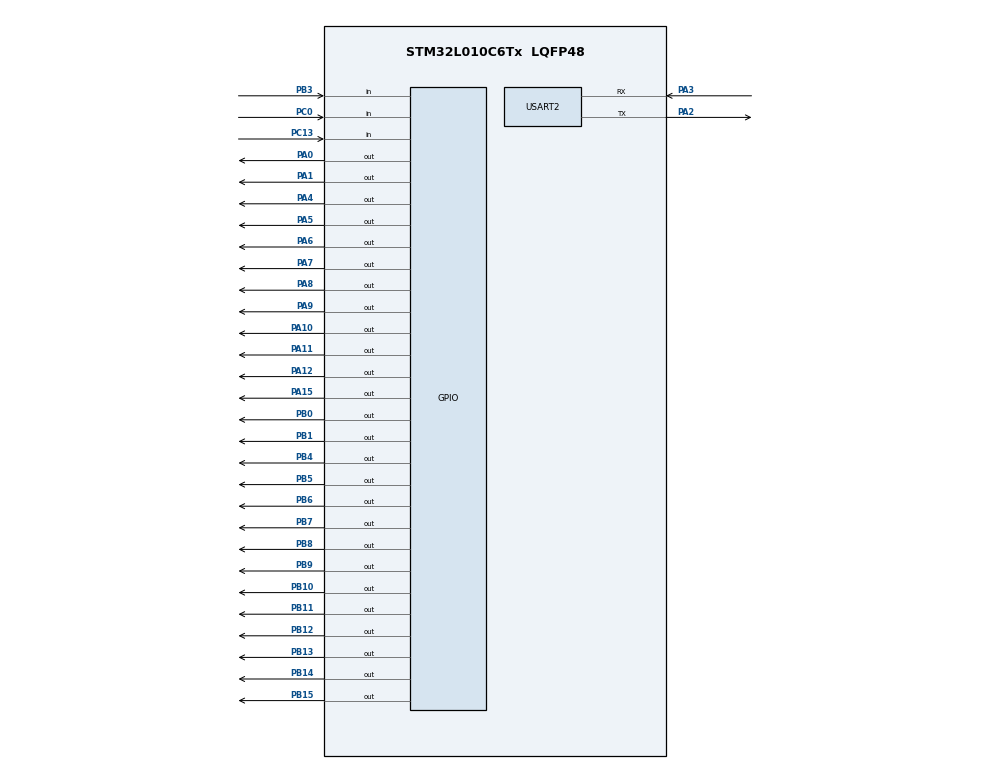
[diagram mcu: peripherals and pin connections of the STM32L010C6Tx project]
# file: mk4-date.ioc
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Mcu.Family=STM32L0
Mcu.Name=STM32L010C6Tx
Mcu.Package=LQFP48
NVIC.TIM21_IRQn=true\:0\:0\:false\:false\:false\:true\:false
NVIC.TIM2_IRQn=true\:0\:0\:false\:false\:false\:true\:false
PA0.GPIO_Speed=GPIO_SPEED_FREQ_VERY_HIGH
PA0.Signal=GPIO_Output
PA1.GPIO_Speed=GPIO_SPEED_FREQ_VERY_HIGH
PA1.Signal=GPIO_Output
PA10.GPIO_Speed=GPIO_SPEED_FREQ_VERY_HIGH
PA10.Signal=GPIO_Output
PA11.GPIO_Speed=GPIO_SPEED_FREQ_VERY_HIGH
PA11.Signal=GPIO_Output
PA12.GPIO_Speed=GPIO_SPEED_FREQ_VERY_HIGH
PA12.Signal=GPIO_Output
PA15.GPIO_Speed=GPIO_SPEED_FREQ_VERY_HIGH
PA15.Signal=GPIO_Output
PA2.Mode=Asynchronous
PA2.Signal=USART2_TX
PA3.Mode=Asynchronous
PA3.Signal=USART2_RX
PA4.GPIO_Speed=GPIO_SPEED_FREQ_VERY_HIGH
PA4.Signal=GPIO_Output
PA5.GPIO_Speed=GPIO_SPEED_FREQ_VERY_HIGH
PA5.Signal=GPIO_Output
PA6.GPIO_Speed=GPIO_SPEED_FREQ_VERY_HIGH
PA6.Signal=GPIO_Output
PA7.GPIO_Speed=GPIO_SPEED_FREQ_VERY_HIGH
PA7.Signal=GPIO_Output
PA8.GPIO_Speed=GPIO_SPEED_FREQ_VERY_HIGH
PA8.Signal=GPIO_Output
PA9.GPIO_Speed=GPIO_SPEED_FREQ_VERY_HIGH
PA9.Signal=GPIO_Output
PB0.GPIO_Speed=GPIO_SPEED_FREQ_VERY_HIGH
PB0.Signal=GPIO_Output
PB1.GPIO_Speed=GPIO_SPEED_FREQ_VERY_HIGH
PB1.Signal=GPIO_Output
PB10.GPIO_Speed=GPIO_SPEED_FREQ_VERY_HIGH
PB10.Signal=GPIO_Output
PB11.GPIO_Speed=GPIO_SPEED_FREQ_VERY_HIGH
PB11.Signal=GPIO_Output
PB12.GPIO_Speed=GPIO_SPEED_FREQ_VERY_HIGH
PB12.Signal=GPIO_Output
PB13.GPIO_Speed=GPIO_SPEED_FREQ_VERY_HIGH
PB13.Signal=GPIO_Output
PB14.GPIO_Speed=GPIO_SPEED_FREQ_VERY_HIGH
PB14.Signal=GPIO_Output
PB15.GPIO_Speed=GPIO_SPEED_FREQ_VERY_HIGH
PB15.Signal=GPIO_Output
PB3.GPIO_PuPd=GPIO_PULLUP
PB3.Signal=GPIO_Input
PB4.GPIO_Speed=GPIO_SPEED_FREQ_VERY_HIGH
PB4.Signal=GPIO_Output
PB5.GPIO_Speed=GPIO_SPEED_FREQ_VERY_HIGH
PB5.Signal=GPIO_Output
PB6.GPIO_Speed=GPIO_SPEED_FREQ_VERY_HIGH
PB6.Signal=GPIO_Output
PB7.GPIO_Speed=GPIO_SPEED_FREQ_VERY_HIGH
PB7.Signal=GPIO_Output
PB8.GPIO_Speed=GPIO_SPEED_FREQ_VERY_HIGH
PB8.Signal=GPIO_Output
PB9.GPIO_Speed=GPIO_SPEED_FREQ_VERY_HIGH
PB9.Signal=GPIO_Output
PC0.GPIO_PuPd=GPIO_PULLUP
PC0.Signal=GPIO_Input
PC13-ANTI_TAMP.GPIO_PuPd=GPIO_PULLUP
PC13-ANTI_TAMP.Signal=GPIO_Input
ProjectManager.HeapSize=0x200
ProjectManager.StackSize=0x400
ProjectManager.TargetToolchain=STM32CubeIDE
RCC.AHBFreq_Value=32000000
RCC.APB1Freq_Value=32000000
RCC.APB1TimFreq_Value=32000000
RCC.APB2Freq_Value=32000000
RCC.APB2TimFreq_Value=32000000
RCC.HCLKFreq_Value=32000000
RCC.HSE_VALUE=8000000
RCC.HSI16_VALUE=16000000
RCC.HSI_VALUE=16000000
RCC.LSE_VALUE=32768
RCC.MSI_VALUE=2097000
RCC.PLLMUL=RCC_PLLMUL_4
RCC.SYSCLKFreq_VALUE=32000000
RCC.SYSCLKSource=RCC_SYSCLKSOURCE_PLLCLK
RCC.VCOOutputFreq_Value=64000000
TIM2.AutoReloadPreload=TIM_AUTORELOAD_PRELOAD_ENABLE
TIM2.Period=319
TIM21.Period=19999
TIM21.Prescaler=31
USART2.Parity=PARITY_EVEN
USART2.VirtualMode=VM_ASYNC
USART2.WordLength=WORDLENGTH_9B
VP_TIM21_VS_ClockSourceINT.Mode=Internal
VP_TIM2_VS_ClockSourceINT.Mode=Internal
board=custom

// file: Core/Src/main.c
/* USER CODE BEGIN Header */
/**
  ******************************************************************************
  * @file           : main.c
  * @brief          : Main program body
  ******************************************************************************
  * @attention
  *
  * <h2><center>&copy; Copyright (c) 2020 STMicroelectronics.
  * All rights reserved.</center></h2>
  *
  * This software component is licensed by ST under BSD 3-Clause license,
  * the "License"; You may not use this file except in compliance with the
  * License. You may obtain a copy of the License at:
  *                        opensource.org/licenses/BSD-3-Clause
  *
  ******************************************************************************
  */
/* USER CODE END Header */

#include "main.h"

/* USER CODE BEGIN Includes */
#include <string.h>
#include <math.h>
#include <stdio.h>
/* USER CODE END Includes */

/* USER CODE BEGIN PM */

#define byteswap32(x) \
   ( ((x & 0xff000000) >> 24) | ((x & 0x00ff0000) >> 8) \
   | ((x & 0x0000ff00) <<  8) | ((x & 0x000000ff) << 24))

/* USER CODE END PM */

/* USER CODE BEGIN PV */

const uint8_t lut_7seg[] = {
  0,
  64, // !
  0b00100010,// "
  64, // #
  64, // $
  64, // %
  64, // &
  0b00000010,// '
  0b00111001,// (
  0b00001111,// )
  64, // *
  64, // +
  64, // ,
  0b01000000,// -
  64, // .
  0b01010010,// /
  0b00111111,// 0
  0b00000110,// 1
  0b01011011,// 2
  0b01001111,// 3
  0b01100110,// 4
  0b01101101,// 5
  0b01111101,// 6
  0b00000111,// 7
  0b01111111,// 8
  0b01101111,// 9
  64, // :
  64, // ;
  64, // <
  64, // =
  64, // >
  64, // ?
  64, // @
  0b01110111,// A
  0b01111100,// B
  0b00111001,// C
  0b01011110,// D
  0b01111001,// E
  0b01110001,// F
  0b00111101,// G
  0b01110100,// H
  0b00000110,// I
  0b00011110,// J
  0b01110101,// K
  0b00111000,// L
  0b00010101,// M
  0b01010100,// N
  0b00111111,// O
  0b01110011,// P
  0b01100111,// Q
  0b01010000,// R
  0b01101101,// S
  0b01111000,// T
  0b00111110,// U
  0b01100010,// V
  0b00101010,// W
  0b01110110,// X
  0b01101110,// Y
  0b01011011,// Z
  0b00111001,// [
  0b01100100,// \ //
  0b00001111,// ]
  0b00100011,// ^
  0b00001000,// _
  0b00100000,// `
  0b01110111,// a
  0b01111100,// b
  0b01011000,// c
  0b01011110,// d
  0b01111001,// e
  0b01110001,// f
  0b00111101,// g
  0b01110100,// h
  0b00000100,// i
  0b00011110,// j
  0b01110101,// k
  0b00111000,// l
  0b01010101,// m
  0b01010100,// n
  0b01011100,// o
  0b01110011,// p
  0b01100111,// q
  0b01010000,// r
  0b01101101,// s
  0b01111000,// t
  0b00011100,// u
  0b01100010,// v
  0b01101010,// w
  0b01110110,// x
  0b01101110,// y
  0b01011011,// z
  0b00111001,// {
  64, // |
  0b00001111,// }
  64, // ~
};

const uint8_t lut_7seg_inv[] = {
  0,
  64, // !
  0b00010100,// "
  64, // #
  64, // $
  64, // %
  64, // &
  0b00010000,// '
  0b00001111,// (
  0b00111001,// )
  64, // *
  64, // +
  64, // ,
  0b01000000,// -
  64, // .
  0b01010010,// /
  0b00111111,// 0
  0b00110000,// 1
  0b01011011,// 2
  0b01111001,// 3
  0b01110100,// 4
  0b01101101,// 5
  0b01101111,// 6
  0b00111000,// 7
  0b01111111,// 8
  0b01111101,// 9
  64, // :
  64, // ;
  64, // <
  64, // =
  64, // >
  64, // ?
  64, // @
  0b01111110,// A
  0b01100111,// B
  0b00001111,// C
  0b01110011,// D
  0b01001111,// E
  0b01001110,// F
  0b00101111,// G
  0b01100110,// H
  0b00110000,// I
  0b00110011,// J
  0b01101110,// K
  0b00000111,// L
  0b00101010,// M
  0b01100010,// N
  0b00111111,// O
  0b01011110,// P
  0b01111100,// Q
  0b01000010,// R
  0b01101101,// S
  0b01000111,// T
  0b00110111,// U
  0b01010100,// V
  0b00010101,// W
  0b01110110,// X
  0b01110101,// Y
  0b01011011,// Z
  0b00001111,// [
  0b01100100,// \ //
  0b00111001,// ]
  0b00011100,// ^
  0b00000001,// _
  0b00000100,// `
  0b01111110,// a
  0b01100111,// b
  0b01000011,// c
  0b01110011,// d
  0b01001111,// e
  0b01001110,// f
  0b00101111,// g
  0b01100110,// h
  0b00100000,// i
  0b00110011,// j
  0b01101110,// k
  0b00000111,// l
  0b01101010,// m
  0b01100010,// n
  0b01100011,// o
  0b01011110,// p
  0b01111100,// q
  0b01000010,// r
  0b01101101,// s
  0b01000111,// t
  0b00100011,// u
  0b01010100,// v
  0b01010101,// w
  0b01110110,// x
  0b01110101,// y
  0b01011011,// z
  0b00001111,// {
  64, // |
  0b00111001,// }
  64, // ~
};

#define CMD_LOAD_TEXT          0x90
#define CMD_SET_FREQUENCY      0x91
#define CMD_RELOAD_TEXT        0x92
#define CMD_SET_SCROLL_SPEED   0x93
#define CMD_SET_SEG_BALANCE    0x94   // + 9 data bytes: duty (of 16) for 0..8 lit segments

#define CMD_SHOW_CRC           0x9D
#define CMD_REPORT_CRC         0x9E
#define CMD_START_BOOTLOADER   0x9F

#define CMD_SET_FREQUENCY_B2   0xA1
#define CMD_SET_FREQUENCY_B3   0xA2

// 32e6/5/50 = 128000 Hz
// on -O0, ARR_MIN 66 => 95522.388Hz
#define ARR_MIN                49
#define ARR_MAX                6399
// 32e6/5/6400 = 1000Hz

uint16_t pre_buffer_a[5] ={0};
uint16_t pre_buffer_b[5] ={0};
uint8_t status = 0;

uint16_t buffer_a[5] ={0};
uint16_t buffer_b[5] ={0};
uint8_t buffer_idx=0;

#define MAX_TEXT_LEN 32
uint8_t text[MAX_TEXT_LEN] ={0};
uint8_t text_idx=0;
uint8_t dp_pos=0;

uint32_t target_freq=0;

const uint16_t cathodes_a[5]={
    0b1001100000000010,
    0b1001100000000001,
    0b1001000000000011,
    0b1000100000000011,
    0b0001100000000011
};
const uint16_t cathodes_b[5]={
    0b1111000000000000,
    0b1110100000000000,
    0b1101100000000000,
    0b1011100000000000,
    0b0111100000000000
};

// --- Per-segment brightness balance (received from the time board) ---------------------------
// The shared LED rail makes digits with FEWER lit segments glow brighter (per-digit return-path
// drop). The time board computes the compensation and forwards a 9-entry duty table over the
// UART (CMD_SET_SEG_BALANCE + 9 data bytes: lit cycles of 16 for a digit with 0..8 lit segments);
// this board just applies it: the scan ISR runs a D-cycle dither where each digit is lit in its
// table share of cycles. D adapts to the commanded scan rate so the dither never strobes
// (>= ~200 Hz), and the identity table (all 16, the default) is bit-identical to stock.
// Segment bits per port (cathode selects and all else pass through unmasked, verbatim):
//   port A: segments bits 4..10 + DP bit 14 (cathodes_a use bits 15,12,11,1,0)
//   port B: segments bits 4..10 + DP bit 0  (cathodes_b use bits 15..11)
#define SEGBAL_MASK_A  0x47F0u
#define SEGBAL_MASK_B  0x07F1u
uint8_t segbal_table[9] = {16,16,16,16,16,16,16,16,16};
uint8_t segbal_stage[9];                 // RX staging — committed atomically on the 9th byte
uint8_t segbal_stage_idx = 0;
uint8_t segbal_duty_a[5] = {16,16,16,16,16};   // lit cycles (of 16) per column, per port
uint8_t segbal_duty_b[5] = {16,16,16,16,16};
uint8_t segbal_cycle = 0;                // advances once per 5-column sweep, wraps at the depth

// rank(c) for D=16 (bit-reversed c); for D=8/4 shift right by 1/2. A digit is lit on the cycles
// whose rank falls in ITS OWN window of size s: (rank + phase) mod D < s, phase fixed per digit
// (port x column). Two properties, both hardware-proven the hard way:
//  - NESTED: when a duty steps (segment count changed, duty table re-forwarded) the lit set
//    gains/loses exactly one cycle instead of reshuffling — a reshuffling spread (e.g.
//    (c*s) % D < s, the first ship) visibly re-phases the light at each step.
//  - DECORRELATED: distinct phases keep the digits' lit cycles spread across the period. With
//    one shared window (no rotation — the second ship) every digit lit the same low-rank cycles:
//    high-rank cycles went ALL-dark (whole-row 200 Hz comb), the shared rail saw a sawtooth that
//    stepped with the time board's content, and the row blipped at 1 Hz with per-digit brightness
//    off calibration.
// A rotated rank window bit-reverses to a van-der-Corput run, so spacing stays near-even at
// every s. Identity (duty 16 = s = D) lights every cycle regardless of phase = stock-identical.
static const uint8_t SEGBAL_REV16[16] = {0,8,4,12,2,10,6,14,1,9,5,13,3,11,7,15};
static const uint8_t SEGBAL_PH_A[5] = {0, 6, 12, 2, 8};    // idx*3 mod 16, idx = col*2 + port —
static const uint8_t SEGBAL_PH_B[5] = {3, 9, 15, 5, 11};   // all 10 digit phases distinct

static uint8_t segbal_pop(uint16_t v){
  uint8_t n = 0;
  while (v) { n += v & 1u; v >>= 1; }
  return n;
}
// Recompute the per-column duties from the CURRENT buffer words. Called wherever the buffers
// change (latch, direct writes, wipe) — cheap, and the ISR itself never does the counting.
static void segbalRecompute(void){
  for (uint8_t i = 0; i < 5; i++) {
    uint8_t na = segbal_pop(buffer_a[i] & SEGBAL_MASK_A);
    uint8_t nb = segbal_pop(buffer_b[i] & SEGBAL_MASK_B);
    segbal_duty_a[i] = segbal_table[na > 8 ? 8 : na];
    segbal_duty_b[i] = segbal_table[nb > 8 ? 8 : nb];
  }
}
// Dither depth for the commanded scan rate (TIM2 clock 6.4 MHz; setFrequency retunes ARR from
// 1..100 kHz): deepest of {16,8,4} keeping the dither >= ~200 Hz, else 1 = balancing off.
static uint8_t segbal_depth(void){
  uint32_t step = 6400000u / ((uint32_t)TIM2->ARR + 1u);
  if (step >= 16000u) return 16u;
  if (step >=  8000u) return 8u;
  if (step >=  4000u) return 4u;
  return 1u;
}

uint8_t inverted=0;
uint8_t b1_held =0;
uint8_t b2_held =0;
uint8_t b1_chorded=0;    // this B1 press overlapped B2 at some point -> it's a chord, never emit a single for it
uint8_t b2_chorded=0;
uint16_t both_held =0;   // monotonic ticks both buttons have been down (chord timer)
uint8_t  both_stage=0;   // 0 = no chord, else the last stage (1/2/3) emitted this hold

/* USER CODE END PV */

void SystemClock_Config(void);
static void MX_GPIO_Init(void);
static void MX_TIM2_Init(void);
static void MX_USART2_UART_Init(void);
static void MX_TIM21_Init(void);

/* USER CODE BEGIN 0 */

__attribute__((naked,noreturn))
void triggerBootloader(void){

  LL_TIM_DisableIT_UPDATE(TIM2);
  LL_TIM_DisableCounter(TIM2);
  LL_TIM_DeInit(TIM2);

  LL_TIM_DisableIT_UPDATE(TIM21);
  LL_TIM_DisableCounter(TIM21);
  LL_TIM_DeInit(TIM21);

  LL_USART_Disable(USART2);
  LL_USART_DeInit(USART2);

  GPIOA->ODR=0;
  GPIOB->ODR=0;

  LL_GPIO_DeInit(GPIOA);
  LL_GPIO_DeInit(GPIOB);

  LL_APB2_GRP1_ForceReset(LL_APB2_GRP1_PERIPH_SYSCFG);
  LL_APB1_GRP1_ForceReset(LL_APB1_GRP1_PERIPH_ALL);
  LL_APB2_GRP1_ReleaseReset(LL_APB2_GRP1_PERIPH_SYSCFG);
  LL_APB1_GRP1_ReleaseReset(LL_APB1_GRP1_PERIPH_ALL);

  LL_RCC_DeInit();
  SysTick->CTRL = 0;
  SysTick->LOAD = 0;
  SysTick->VAL = 0;

#define SYSMEM 0x1FF00000

  __set_MSP(*(volatile uint32_t*) SYSMEM);
  ((void (*)(void)) (*((volatile uint32_t *)(SYSMEM + 4))))();

  __builtin_unreachable();
}

void setDigitPre(uint8_t digit, uint8_t val){
  if (val<32 || val>127) val=32;

  if (inverted == 1) {
    if (digit>=5) {
      pre_buffer_b[9-digit] = (lut_7seg_inv[val-32]<<4) | cathodes_b[9-digit];
    } else {
      pre_buffer_a[9-digit-5] = (lut_7seg_inv[val-32]<<4) | cathodes_a[9-digit-5];
    }
  } else {
    if (digit>=5) {
      pre_buffer_a[digit-5] = (lut_7seg[val-32]<<4) | cathodes_a[digit-5];
    } else {
      pre_buffer_b[digit] = (lut_7seg[val-32]<<4) | cathodes_b[digit];
    }
  }
}
void setDigitDirect(uint8_t digit, uint8_t val){
  if (val<32 || val>127) val=32;
  // (duties refreshed at the end — this writes the live buffers directly)

  if (inverted == 1) {
    if (digit>=5) {
      buffer_b[9-digit] = (lut_7seg_inv[val-32]<<4) | cathodes_b[9-digit];
    } else {
      buffer_a[9-digit-5] = (lut_7seg_inv[val-32]<<4) | cathodes_a[9-digit-5];
    }
  } else {
    if (digit>=5) {
      buffer_a[digit-5] = (lut_7seg[val-32]<<4) | cathodes_a[digit-5];
    } else {
      buffer_b[digit] = (lut_7seg[val-32]<<4) | cathodes_b[digit];
    }
  }
  segbalRecompute();
}

// Main display matrix routine. seg-balance: each digit is lit in duty/16 of the dither cycles —
// rescaled to the depth D for this scan rate — with its cathode-select bits present in EVERY
// cycle. The identity table gives duty 16 = always lit = bit-identical to the stock scan.
void TIM2_IRQHandler(void)
{
  if (TIM2->SR & TIM_SR_UIF){

    uint16_t wa = buffer_a[buffer_idx];
    uint16_t wb = buffer_b[buffer_idx];
    uint8_t  D  = segbal_depth();
    // duty on the 0..16 scale -> lit cycles of D (D=16 exact; lit digits keep >= 1 cycle)
    uint8_t sa = (uint8_t)(((uint16_t)segbal_duty_a[buffer_idx] * D + 8u) >> 4);
    uint8_t sb = (uint8_t)(((uint16_t)segbal_duty_b[buffer_idx] * D + 8u) >> 4);
    if (segbal_duty_a[buffer_idx] && !sa) sa = 1;
    if (segbal_duty_b[buffer_idx] && !sb) sb = 1;
    uint8_t r = (uint8_t)(SEGBAL_REV16[segbal_cycle % D] >> ((D == 16u) ? 0 : (D == 8u) ? 1 : 2));
    if (((uint8_t)(r + SEGBAL_PH_A[buffer_idx]) & (D - 1u)) >= sa) wa &= (uint16_t)~SEGBAL_MASK_A;
    if (((uint8_t)(r + SEGBAL_PH_B[buffer_idx]) & (D - 1u)) >= sb) wb &= (uint16_t)~SEGBAL_MASK_B;

    GPIOA->ODR = wa;
    GPIOB->ODR = wb;

    buffer_idx ++;
    if (buffer_idx>=5) { buffer_idx=0; segbal_cycle = (uint8_t)((segbal_cycle + 1) & 15); }

    TIM2->SR = ~TIM_DIER_UIE;
    return;
  }
}

void TIM21_IRQHandler(void){
  if (TIM21->SR & TIM_SR_UIF){

    uint8_t i = (LL_GPIO_ReadInputPort(GPIOC) & 1)?1:0;

    //if (i!=inverted)...

    inverted=i;

    TIM21->SR = ~TIM_DIER_UIE;

   //if (!latched) return; //don't intervene while waiting for latch
    //if (inverted)...

    // A lone button must be held chord_grace ticks (~120ms at 50Hz) before it COMMITS a single press —
    // long enough that a slightly-staggered second button turns the pair into a chord instead. A quick
    // lone TAP (released before chord_grace) still fires on RELEASE below, so this window never drops a
    // tap; it only widens how forgiving "press both together" is. Once the other button has overlapped
    // (b*_chorded), the single is suppressed entirely, and a both-tapped-too-brief press emits nothing.
#define chord_grace 6        // ticks both-simultaneity is tolerated within (was an unforgiving 2)
#define btn_delay 42
#define btn_repeat 10

    if ((LL_GPIO_ReadInputPort(GPIOB) & LL_GPIO_PIN_3)==0) {
      b1_held++;
      if (b2_held) b1_chorded = 1;                                   // B2 overlapped -> chord, not a single
      if ((b1_held == chord_grace || b1_held == btn_delay) && !b1_chorded) {
        if (USART2->ISR & USART_ISR_TXE) USART2->TDR = 0x91 + inverted;
        if (b1_held == btn_delay) b1_held -= btn_repeat;             // auto-repeat while held
      }
    } else {
      if (b1_held && b1_held < chord_grace && !b1_chorded &&         // released before the grace, alone:
          (USART2->ISR & USART_ISR_TXE)) USART2->TDR = 0x91 + inverted;   // a quick tap -> fire it on release
      b1_held = 0; b1_chorded = 0;
    }
    if ((LL_GPIO_ReadInputPort(GPIOC) & LL_GPIO_PIN_13)==0) {
      b2_held++;
      if (b1_held) b2_chorded = 1;
      if ((b2_held == chord_grace || b2_held == btn_delay) && !b2_chorded) {
        if (USART2->ISR & USART_ISR_TXE) USART2->TDR = 0x92 - inverted;
        if (b2_held == btn_delay) b2_held -= btn_repeat;
      }
    } else {
      if (b2_held && b2_held < chord_grace && !b2_chorded &&
          (USART2->ISR & USART_ISR_TXE)) USART2->TDR = 0x92 - inverted;
      b2_held = 0; b2_chorded = 0;
    }

    // Both buttons held: a rolling self-labeled chord for the time board's on-device menu. Cross a
    // stage every chord_step ticks after chord_s1, cycling 1/2/3, emitting 0x94/0x95/0x96 (the stage
    // crossings the time board renders as SETUP/RESET/... on the date row). On release after reaching
    // at least stage 1, emit 0x93 to fire the shown stage. A press too brief to reach stage 1 emits
    // NOTHING — so the time board never sees a bare 0x93 here (it treats that as a legacy reset for
    // pre-menu date boards), and reset now lives at the deepest labeled stage instead of any both-hold.
#define chord_s1   42        // ticks of both-held before stage 1 lights up (~matches the single-hold feel)
#define chord_step 35        // ticks per subsequent stage; long enough to read the label and release
    if ( ((LL_GPIO_ReadInputPort(GPIOB) & LL_GPIO_PIN_3)==0) &&
         ((LL_GPIO_ReadInputPort(GPIOC) & LL_GPIO_PIN_13)==0) ) {
      if (both_held < 0xFFFF) both_held++;
      if (both_held >= chord_s1) {
        uint8_t stage = 1 + (uint8_t)(((both_held - chord_s1) / chord_step) % 3);   // 1,2,3,1,2,3,...
        if (stage != both_stage) {
          both_stage = stage;
          if (USART2->ISR & USART_ISR_TXE) USART2->TDR = (uint8_t)(0x93 + stage);   // 0x94/0x95/0x96
        }
      }
    } else {
      if (both_stage) {                                       // released after a chord: fire the stage
        if (USART2->ISR & USART_ISR_TXE) USART2->TDR = 0x93;
        both_stage = 0;
      }
      both_held = 0;
    }
  }
}

static inline void setFrequency(void){

  if (target_freq<1 || target_freq>100000) return;

  uint32_t arr = round(6400000.0 / (float)target_freq) -1.0;
  if (arr > ARR_MAX) arr = ARR_MAX;
  if (arr < ARR_MIN) arr = ARR_MIN;
  TIM2->ARR= arr;
}

static inline void latchDisplay(void){
  buffer_b[0] = pre_buffer_b[0];
  buffer_b[1] = pre_buffer_b[1];
  buffer_b[2] = pre_buffer_b[2];
  buffer_b[3] = pre_buffer_b[3];
  buffer_b[4] = pre_buffer_b[4];
  buffer_a[0] = pre_buffer_a[0];
  buffer_a[1] = pre_buffer_a[1];
  buffer_a[2] = pre_buffer_a[2];
  buffer_a[3] = pre_buffer_a[3];
  buffer_a[4] = pre_buffer_a[4];

  // dp_pos is the 1-based digit the decimal point attaches to (0 = none). It comes from
  // text_idx, which the sender can advance past the 10-digit display, and it indexes the
  // 5-entry buffer_a/buffer_b below. Clamp to each orientation's valid range so a stray or
  // garbled '.' in the UART stream can't drive a negative / out-of-range index into RAM.
  if (!dp_pos) return;
  if (inverted) { if (dp_pos > 9) return; }   // inverted: 9-dp_pos goes negative at 10
  else          { if (dp_pos > 10) return; }  // non-inverted: dp_pos-6 tops out at [4]

  if (inverted){
    if (dp_pos>=5) {
      buffer_b[9-dp_pos] |=1 | cathodes_b[9-dp_pos];
    } else {
      buffer_a[9-dp_pos-5]  |=(1<<14) | cathodes_a[9-dp_pos-5];
    }
  } else {
    if (dp_pos>5) {
      buffer_a[dp_pos-6] |=1<<14;
    } else {
      buffer_b[dp_pos-1] |=1;
    }
  }
}
// NOTE: every path that changes buffer_a/buffer_b refreshes the balance duties — the DP OR above
// included, which is why the recompute lives in the callers right after latchDisplay()/writes.
static inline uint8_t waitForByte(void){
  while( !( USART2->ISR & USART_ISR_RXNE ) ) {};
  return USART2->RDR;
}

void transmitBlocking(uint8_t * c, size_t n){
  while (n--){
    while( !( USART2->ISR & USART_ISR_TXE ) ) {};
    USART2->TDR = *c++;
  }
}

static inline void waitForLatch(void){
  LL_USART_DisableDirectionRx(USART2);
  LL_GPIO_SetPinMode( GPIOA, LL_GPIO_PIN_3, LL_GPIO_MODE_INPUT );

  while (GPIOA->IDR & LL_GPIO_PIN_3) {}

  latchDisplay();
  segbalRecompute();

  // The latch byte is 0xFE with even parity, so as soon as the line returns high we can re-enable uart
  while (!(GPIOA->IDR & LL_GPIO_PIN_3)) {}

  LL_GPIO_SetPinMode( GPIOA, LL_GPIO_PIN_3, LL_GPIO_MODE_ALTERNATE );
  LL_USART_EnableDirectionRx(USART2);
}

static inline void parseByte(uint8_t x){

  if (x & 0x80) { // command byte
    status = x;
    switch (x) {
      case CMD_SHOW_CRC:
      case CMD_LOAD_TEXT:
        text_idx=0;
        dp_pos=0;
        memset(text, 0, MAX_TEXT_LEN);

        pre_buffer_b[0]=0;
        pre_buffer_b[1]=0;
        pre_buffer_b[2]=0;
        pre_buffer_b[3]=0;
        pre_buffer_b[4]=0;
        pre_buffer_a[0]=0;
        pre_buffer_a[1]=0;
        pre_buffer_a[2]=0;
        pre_buffer_a[3]=0;
        pre_buffer_a[4]=0;

        break;
      case CMD_RELOAD_TEXT:
        latchDisplay();
  segbalRecompute();
        break;
      case CMD_SET_SEG_BALANCE:
        segbal_stage_idx = 0;
        break;
      case CMD_SET_SCROLL_SPEED:
        break;

      case CMD_SET_FREQUENCY:
      case CMD_SET_FREQUENCY_B2:
      case CMD_SET_FREQUENCY_B3:
        target_freq=0;
        break;

      case CMD_REPORT_CRC:
        transmitBlocking( (uint8_t*)0x8007ffc, 4);
        break;

      case CMD_START_BOOTLOADER:
        triggerBootloader();
        break;

      default:
        status=0;
    }

    if (x==CMD_SHOW_CRC) {
      uint32_t* crc = (uint32_t*)0x8007ffc;
      sprintf(text, "d %08lx", byteswap32(crc[0]));
      for (text_idx=0; text_idx<10; text_idx++)
        setDigitPre(text_idx, text[text_idx]);
    }

    return;
  }

  // Process data
  switch(status){

  case CMD_SHOW_CRC:
  case CMD_LOAD_TEXT:
    if (x=='\n' || x==0) {
      waitForLatch();
      return;
    }
    if (x=='.') {
      dp_pos = text_idx;
      return;
    }
    if(text_idx >= MAX_TEXT_LEN) return;  // was '>': at text_idx==MAX_TEXT_LEN this wrote text[32], 1 byte past the buffer

    if (text_idx < 10) setDigitPre(text_idx, x);
    text[text_idx++] = x;
    return;

  case CMD_SET_SCROLL_SPEED:
    return;

  case CMD_SET_SEG_BALANCE:
    // 9 duty bytes (0..16, for 0..8 lit segments), committed atomically on the last one — an
    // interrupted frame (any command byte resets `status`) leaves the previous table intact.
    if (segbal_stage_idx < 9) segbal_stage[segbal_stage_idx++] = (x > 16) ? 16 : x;
    if (segbal_stage_idx == 9) {
      for (uint8_t i = 0; i < 9; i++) segbal_table[i] = segbal_stage[i];
      segbalRecompute();
      status = 0;
    }
    return;

  case CMD_SET_FREQUENCY:
    status=CMD_SET_FREQUENCY_B2;
    target_freq |= x<<14;
    return;
  case CMD_SET_FREQUENCY_B2:
    status=CMD_SET_FREQUENCY_B3;
    target_freq |= x<<7;
    return;
  case CMD_SET_FREQUENCY_B3:
    status=0;
    target_freq |= x;
    setFrequency();
    return;
  }

}

/* USER CODE END 0 */

int main(void)
{

  /* MCU Configuration--------------------------------------------------------*/

  /* Reset of all peripherals, Initializes the Flash interface and the Systick. */

  LL_APB2_GRP1_EnableClock(LL_APB2_GRP1_PERIPH_SYSCFG);
  LL_APB1_GRP1_EnableClock(LL_APB1_GRP1_PERIPH_PWR);

  /* System interrupt init*/

  /* Configure the system clock */
  SystemClock_Config();

  /* Initialize all configured peripherals */
  MX_GPIO_Init();
  MX_TIM2_Init();
  MX_USART2_UART_Init();
  MX_TIM21_Init();
  /* USER CODE BEGIN 2 */

  //  (HAL_TIM_Base_Start_IT(&htim2)

  LL_TIM_EnableIT_UPDATE(TIM2); //TIM2->DIER |= TIM_DIER_UIE;
  LL_TIM_EnableCounter(TIM2); //TIM2->CR1 |= TIM_CR1_CEN;

  LL_TIM_EnableIT_UPDATE(TIM21);
  LL_TIM_EnableCounter(TIM21);

//  setDigitDirect(0, 'l');
//  setDigitDirect(1, 'o');
//  setDigitDirect(2, 'l');
//  setDigitDirect(3, 'o');
//  setDigitDirect(4, 'l');
//  setDigitDirect(5, 'o');
//  setDigitDirect(6, 'l');
//  setDigitDirect(7, 'o');
//  setDigitDirect(8, 'l');
//  setDigitDirect(9, 'o');

  //buffer_a[2] |= 1<<14;
  //buffer_b[2] |= 1;

  /* USER CODE END 2 */

  /* Infinite loop */
  /* USER CODE BEGIN WHILE */
  while (1)
  {

    uint8_t x = waitForByte();
    parseByte(x);

    /* USER CODE END WHILE */

  }
}

void SystemClock_Config(void)
{
  LL_FLASH_SetLatency(LL_FLASH_LATENCY_1);

  if(LL_FLASH_GetLatency() != LL_FLASH_LATENCY_1)
  {
  Error_Handler();
  }
  LL_PWR_SetRegulVoltageScaling(LL_PWR_REGU_VOLTAGE_SCALE1);
  LL_RCC_HSI_Enable();

   /* Wait till HSI is ready */
  while(LL_RCC_HSI_IsReady() != 1)
  {

  }
  LL_RCC_HSI_SetCalibTrimming(16);
  LL_RCC_PLL_ConfigDomain_SYS(LL_RCC_PLLSOURCE_HSI, LL_RCC_PLL_MUL_4, LL_RCC_PLL_DIV_2);
  LL_RCC_PLL_Enable();

   /* Wait till PLL is ready */
  while(LL_RCC_PLL_IsReady() != 1)
  {

  }
  LL_RCC_SetAHBPrescaler(LL_RCC_SYSCLK_DIV_1);
  LL_RCC_SetAPB1Prescaler(LL_RCC_APB1_DIV_1);
  LL_RCC_SetAPB2Prescaler(LL_RCC_APB2_DIV_1);
  LL_RCC_SetSysClkSource(LL_RCC_SYS_CLKSOURCE_PLL);

   /* Wait till System clock is ready */
  while(LL_RCC_GetSysClkSource() != LL_RCC_SYS_CLKSOURCE_STATUS_PLL)
  {

  }

  LL_Init1msTick(32000000);

  LL_SetSystemCoreClock(32000000);
  LL_RCC_SetUSARTClockSource(LL_RCC_USART2_CLKSOURCE_PCLK1);
}

static void MX_TIM2_Init(void)
{

  LL_TIM_InitTypeDef TIM_InitStruct = {0};

  /* Peripheral clock enable */
  LL_APB1_GRP1_EnableClock(LL_APB1_GRP1_PERIPH_TIM2);

  /* TIM2 interrupt Init */
  NVIC_SetPriority(TIM2_IRQn, 0);
  NVIC_EnableIRQ(TIM2_IRQn);

  TIM_InitStruct.Prescaler = 0;
  TIM_InitStruct.CounterMode = LL_TIM_COUNTERMODE_UP;
  TIM_InitStruct.Autoreload = 319;
  TIM_InitStruct.ClockDivision = LL_TIM_CLOCKDIVISION_DIV1;
  LL_TIM_Init(TIM2, &TIM_InitStruct);
  LL_TIM_EnableARRPreload(TIM2);
  LL_TIM_SetClockSource(TIM2, LL_TIM_CLOCKSOURCE_INTERNAL);
  LL_TIM_SetTriggerOutput(TIM2, LL_TIM_TRGO_RESET);
  LL_TIM_DisableMasterSlaveMode(TIM2);

}

static void MX_TIM21_Init(void)
{

  LL_TIM_InitTypeDef TIM_InitStruct = {0};

  /* Peripheral clock enable */
  LL_APB2_GRP1_EnableClock(LL_APB2_GRP1_PERIPH_TIM21);

  /* TIM21 interrupt Init */
  NVIC_SetPriority(TIM21_IRQn, 0);
  NVIC_EnableIRQ(TIM21_IRQn);

  TIM_InitStruct.Prescaler = 31;
  TIM_InitStruct.CounterMode = LL_TIM_COUNTERMODE_UP;
  TIM_InitStruct.Autoreload = 19999;
  TIM_InitStruct.ClockDivision = LL_TIM_CLOCKDIVISION_DIV1;
  LL_TIM_Init(TIM21, &TIM_InitStruct);
  LL_TIM_DisableARRPreload(TIM21);
  LL_TIM_SetClockSource(TIM21, LL_TIM_CLOCKSOURCE_INTERNAL);
  LL_TIM_SetTriggerOutput(TIM21, LL_TIM_TRGO_RESET);
  LL_TIM_DisableMasterSlaveMode(TIM21);

}

static void MX_USART2_UART_Init(void)
{

  LL_USART_InitTypeDef USART_InitStruct = {0};

  LL_GPIO_InitTypeDef GPIO_InitStruct = {0};

  /* Peripheral clock enable */
  LL_APB1_GRP1_EnableClock(LL_APB1_GRP1_PERIPH_USART2);

  LL_IOP_GRP1_EnableClock(LL_IOP_GRP1_PERIPH_GPIOA);
  /**USART2 GPIO Configuration
  PA2   ------> USART2_TX
  PA3   ------> USART2_RX
  */
  GPIO_InitStruct.Pin = LL_GPIO_PIN_2;
  GPIO_InitStruct.Mode = LL_GPIO_MODE_ALTERNATE;
  GPIO_InitStruct.Speed = LL_GPIO_SPEED_FREQ_VERY_HIGH;
  GPIO_InitStruct.OutputType = LL_GPIO_OUTPUT_PUSHPULL;
  GPIO_InitStruct.Pull = LL_GPIO_PULL_NO;
  GPIO_InitStruct.Alternate = LL_GPIO_AF_4;
  LL_GPIO_Init(GPIOA, &GPIO_InitStruct);

  GPIO_InitStruct.Pin = LL_GPIO_PIN_3;
  GPIO_InitStruct.Mode = LL_GPIO_MODE_ALTERNATE;
  GPIO_InitStruct.Speed = LL_GPIO_SPEED_FREQ_VERY_HIGH;
  GPIO_InitStruct.OutputType = LL_GPIO_OUTPUT_PUSHPULL;
  GPIO_InitStruct.Pull = LL_GPIO_PULL_NO;
  GPIO_InitStruct.Alternate = LL_GPIO_AF_4;
  LL_GPIO_Init(GPIOA, &GPIO_InitStruct);

  /* USER CODE BEGIN USART2_Init 1 */

  // Disable overrun detection, for two reasons
  // 1. The command structure should always sort itself out
  // 2. It makes interactive debugging the assembled clock a lot easier
  USART2->CR3 = USART_CR3_OVRDIS_Msk;

  /* USER CODE END USART2_Init 1 */
  USART_InitStruct.BaudRate = 115200;
  USART_InitStruct.DataWidth = LL_USART_DATAWIDTH_9B;
  USART_InitStruct.StopBits = LL_USART_STOPBITS_1;
  USART_InitStruct.Parity = LL_USART_PARITY_EVEN;
  USART_InitStruct.TransferDirection = LL_USART_DIRECTION_TX_RX;
  USART_InitStruct.HardwareFlowControl = LL_USART_HWCONTROL_NONE;
  USART_InitStruct.OverSampling = LL_USART_OVERSAMPLING_16;
  LL_USART_Init(USART2, &USART_InitStruct);
  LL_USART_ConfigAsyncMode(USART2);
  LL_USART_Enable(USART2);

}

static void MX_GPIO_Init(void)
{
  LL_GPIO_InitTypeDef GPIO_InitStruct = {0};

  /* GPIO Ports Clock Enable */
  LL_IOP_GRP1_EnableClock(LL_IOP_GRP1_PERIPH_GPIOC);
  LL_IOP_GRP1_EnableClock(LL_IOP_GRP1_PERIPH_GPIOA);
  LL_IOP_GRP1_EnableClock(LL_IOP_GRP1_PERIPH_GPIOB);

  /**/
  LL_GPIO_ResetOutputPin(GPIOA, LL_GPIO_PIN_0);

  /**/
  LL_GPIO_ResetOutputPin(GPIOA, LL_GPIO_PIN_1);

  /**/
  LL_GPIO_ResetOutputPin(GPIOA, LL_GPIO_PIN_4);

  /**/
  LL_GPIO_ResetOutputPin(GPIOA, LL_GPIO_PIN_5);

  /**/
  LL_GPIO_ResetOutputPin(GPIOA, LL_GPIO_PIN_6);

  /**/
  LL_GPIO_ResetOutputPin(GPIOA, LL_GPIO_PIN_7);

  /**/
  LL_GPIO_ResetOutputPin(GPIOB, LL_GPIO_PIN_0);

  /**/
  LL_GPIO_ResetOutputPin(GPIOB, LL_GPIO_PIN_1);

  /**/
  LL_GPIO_ResetOutputPin(GPIOB, LL_GPIO_PIN_10);

  /**/
  LL_GPIO_ResetOutputPin(GPIOB, LL_GPIO_PIN_11);

  /**/
  LL_GPIO_ResetOutputPin(GPIOB, LL_GPIO_PIN_12);

  /**/
  LL_GPIO_ResetOutputPin(GPIOB, LL_GPIO_PIN_13);

  /**/
  LL_GPIO_ResetOutputPin(GPIOB, LL_GPIO_PIN_14);

  /**/
  LL_GPIO_ResetOutputPin(GPIOB, LL_GPIO_PIN_15);

  /**/
  LL_GPIO_ResetOutputPin(GPIOA, LL_GPIO_PIN_8);

  /**/
  LL_GPIO_ResetOutputPin(GPIOA, LL_GPIO_PIN_9);

  /**/
  LL_GPIO_ResetOutputPin(GPIOA, LL_GPIO_PIN_10);

  /**/
  LL_GPIO_ResetOutputPin(GPIOA, LL_GPIO_PIN_11);

  /**/
  LL_GPIO_ResetOutputPin(GPIOA, LL_GPIO_PIN_12);

  /**/
  LL_GPIO_ResetOutputPin(GPIOA, LL_GPIO_PIN_15);

  /**/
  LL_GPIO_ResetOutputPin(GPIOB, LL_GPIO_PIN_4);

  /**/
  LL_GPIO_ResetOutputPin(GPIOB, LL_GPIO_PIN_5);

  /**/
  LL_GPIO_ResetOutputPin(GPIOB, LL_GPIO_PIN_6);

  /**/
  LL_GPIO_ResetOutputPin(GPIOB, LL_GPIO_PIN_7);

  /**/
  LL_GPIO_ResetOutputPin(GPIOB, LL_GPIO_PIN_8);

  /**/
  LL_GPIO_ResetOutputPin(GPIOB, LL_GPIO_PIN_9);

  /**/
  GPIO_InitStruct.Pin = LL_GPIO_PIN_0;
  GPIO_InitStruct.Mode = LL_GPIO_MODE_INPUT;
  GPIO_InitStruct.Pull = LL_GPIO_PULL_UP;
  LL_GPIO_Init(GPIOC, &GPIO_InitStruct);

  /**/
  GPIO_InitStruct.Pin = LL_GPIO_PIN_13;
  GPIO_InitStruct.Mode = LL_GPIO_MODE_INPUT;
  GPIO_InitStruct.Pull = LL_GPIO_PULL_UP;
  LL_GPIO_Init(GPIOC, &GPIO_InitStruct);

  /**/
  GPIO_InitStruct.Pin = LL_GPIO_PIN_0;
  GPIO_InitStruct.Mode = LL_GPIO_MODE_OUTPUT;
  GPIO_InitStruct.Speed = LL_GPIO_SPEED_FREQ_VERY_HIGH;
  GPIO_InitStruct.OutputType = LL_GPIO_OUTPUT_PUSHPULL;
  GPIO_InitStruct.Pull = LL_GPIO_PULL_NO;
  LL_GPIO_Init(GPIOA, &GPIO_InitStruct);

  /**/
  GPIO_InitStruct.Pin = LL_GPIO_PIN_1;
  GPIO_InitStruct.Mode = LL_GPIO_MODE_OUTPUT;
  GPIO_InitStruct.Speed = LL_GPIO_SPEED_FREQ_VERY_HIGH;
  GPIO_InitStruct.OutputType = LL_GPIO_OUTPUT_PUSHPULL;
  GPIO_InitStruct.Pull = LL_GPIO_PULL_NO;
  LL_GPIO_Init(GPIOA, &GPIO_InitStruct);

  /**/
  GPIO_InitStruct.Pin = LL_GPIO_PIN_4;
  GPIO_InitStruct.Mode = LL_GPIO_MODE_OUTPUT;
  GPIO_InitStruct.Speed = LL_GPIO_SPEED_FREQ_VERY_HIGH;
  GPIO_InitStruct.OutputType = LL_GPIO_OUTPUT_PUSHPULL;
  GPIO_InitStruct.Pull = LL_GPIO_PULL_NO;
  LL_GPIO_Init(GPIOA, &GPIO_InitStruct);

  /**/
  GPIO_InitStruct.Pin = LL_GPIO_PIN_5;
  GPIO_InitStruct.Mode = LL_GPIO_MODE_OUTPUT;
  GPIO_InitStruct.Speed = LL_GPIO_SPEED_FREQ_VERY_HIGH;
  GPIO_InitStruct.OutputType = LL_GPIO_OUTPUT_PUSHPULL;
  GPIO_InitStruct.Pull = LL_GPIO_PULL_NO;
  LL_GPIO_Init(GPIOA, &GPIO_InitStruct);

  /**/
  GPIO_InitStruct.Pin = LL_GPIO_PIN_6;
  GPIO_InitStruct.Mode = LL_GPIO_MODE_OUTPUT;
  GPIO_InitStruct.Speed = LL_GPIO_SPEED_FREQ_VERY_HIGH;
  GPIO_InitStruct.OutputType = LL_GPIO_OUTPUT_PUSHPULL;
  GPIO_InitStruct.Pull = LL_GPIO_PULL_NO;
  LL_GPIO_Init(GPIOA, &GPIO_InitStruct);

  /**/
  GPIO_InitStruct.Pin = LL_GPIO_PIN_7;
  GPIO_InitStruct.Mode = LL_GPIO_MODE_OUTPUT;
  GPIO_InitStruct.Speed = LL_GPIO_SPEED_FREQ_VERY_HIGH;
  GPIO_InitStruct.OutputType = LL_GPIO_OUTPUT_PUSHPULL;
  GPIO_InitStruct.Pull = LL_GPIO_PULL_NO;
  LL_GPIO_Init(GPIOA, &GPIO_InitStruct);

  /**/
  GPIO_InitStruct.Pin = LL_GPIO_PIN_0;
  GPIO_InitStruct.Mode = LL_GPIO_MODE_OUTPUT;
  GPIO_InitStruct.Speed = LL_GPIO_SPEED_FREQ_VERY_HIGH;
  GPIO_InitStruct.OutputType = LL_GPIO_OUTPUT_PUSHPULL;
  GPIO_InitStruct.Pull = LL_GPIO_PULL_NO;
  LL_GPIO_Init(GPIOB, &GPIO_InitStruct);

  /**/
  GPIO_InitStruct.Pin = LL_GPIO_PIN_1;
  GPIO_InitStruct.Mode = LL_GPIO_MODE_OUTPUT;
  GPIO_InitStruct.Speed = LL_GPIO_SPEED_FREQ_VERY_HIGH;
  GPIO_InitStruct.OutputType = LL_GPIO_OUTPUT_PUSHPULL;
  GPIO_InitStruct.Pull = LL_GPIO_PULL_NO;
  LL_GPIO_Init(GPIOB, &GPIO_InitStruct);

  /**/
  GPIO_InitStruct.Pin = LL_GPIO_PIN_10;
  GPIO_InitStruct.Mode = LL_GPIO_MODE_OUTPUT;
  GPIO_InitStruct.Speed = LL_GPIO_SPEED_FREQ_VERY_HIGH;
  GPIO_InitStruct.OutputType = LL_GPIO_OUTPUT_PUSHPULL;
  GPIO_InitStruct.Pull = LL_GPIO_PULL_NO;
  LL_GPIO_Init(GPIOB, &GPIO_InitStruct);

  /**/
  GPIO_InitStruct.Pin = LL_GPIO_PIN_11;
  GPIO_InitStruct.Mode = LL_GPIO_MODE_OUTPUT;
  GPIO_InitStruct.Speed = LL_GPIO_SPEED_FREQ_VERY_HIGH;
  GPIO_InitStruct.OutputType = LL_GPIO_OUTPUT_PUSHPULL;
  GPIO_InitStruct.Pull = LL_GPIO_PULL_NO;
  LL_GPIO_Init(GPIOB, &GPIO_InitStruct);

  /**/
  GPIO_InitStruct.Pin = LL_GPIO_PIN_12;
  GPIO_InitStruct.Mode = LL_GPIO_MODE_OUTPUT;
  GPIO_InitStruct.Speed = LL_GPIO_SPEED_FREQ_VERY_HIGH;
  GPIO_InitStruct.OutputType = LL_GPIO_OUTPUT_PUSHPULL;
  GPIO_InitStruct.Pull = LL_GPIO_PULL_NO;
  LL_GPIO_Init(GPIOB, &GPIO_InitStruct);

  /**/
  GPIO_InitStruct.Pin = LL_GPIO_PIN_13;
  GPIO_InitStruct.Mode = LL_GPIO_MODE_OUTPUT;
  GPIO_InitStruct.Speed = LL_GPIO_SPEED_FREQ_VERY_HIGH;
  GPIO_InitStruct.OutputType = LL_GPIO_OUTPUT_PUSHPULL;
  GPIO_InitStruct.Pull = LL_GPIO_PULL_NO;
  LL_GPIO_Init(GPIOB, &GPIO_InitStruct);

  /**/
  GPIO_InitStruct.Pin = LL_GPIO_PIN_14;
  GPIO_InitStruct.Mode = LL_GPIO_MODE_OUTPUT;
  GPIO_InitStruct.Speed = LL_GPIO_SPEED_FREQ_VERY_HIGH;
  GPIO_InitStruct.OutputType = LL_GPIO_OUTPUT_PUSHPULL;
  GPIO_InitStruct.Pull = LL_GPIO_PULL_NO;
  LL_GPIO_Init(GPIOB, &GPIO_InitStruct);

  /**/
  GPIO_InitStruct.Pin = LL_GPIO_PIN_15;
  GPIO_InitStruct.Mode = LL_GPIO_MODE_OUTPUT;
  GPIO_InitStruct.Speed = LL_GPIO_SPEED_FREQ_VERY_HIGH;
  GPIO_InitStruct.OutputType = LL_GPIO_OUTPUT_PUSHPULL;
  GPIO_InitStruct.Pull = LL_GPIO_PULL_NO;
  LL_GPIO_Init(GPIOB, &GPIO_InitStruct);

  /**/
  GPIO_InitStruct.Pin = LL_GPIO_PIN_8;
  GPIO_InitStruct.Mode = LL_GPIO_MODE_OUTPUT;
  GPIO_InitStruct.Speed = LL_GPIO_SPEED_FREQ_VERY_HIGH;
  GPIO_InitStruct.OutputType = LL_GPIO_OUTPUT_PUSHPULL;
  GPIO_InitStruct.Pull = LL_GPIO_PULL_NO;
  LL_GPIO_Init(GPIOA, &GPIO_InitStruct);

  /**/
  GPIO_InitStruct.Pin = LL_GPIO_PIN_9;
  GPIO_InitStruct.Mode = LL_GPIO_MODE_OUTPUT;
  GPIO_InitStruct.Speed = LL_GPIO_SPEED_FREQ_VERY_HIGH;
  GPIO_InitStruct.OutputType = LL_GPIO_OUTPUT_PUSHPULL;
  GPIO_InitStruct.Pull = LL_GPIO_PULL_NO;
  LL_GPIO_Init(GPIOA, &GPIO_InitStruct);

  /**/
  GPIO_InitStruct.Pin = LL_GPIO_PIN_10;
  GPIO_InitStruct.Mode = LL_GPIO_MODE_OUTPUT;
  GPIO_InitStruct.Speed = LL_GPIO_SPEED_FREQ_VERY_HIGH;
  GPIO_InitStruct.OutputType = LL_GPIO_OUTPUT_PUSHPULL;
  GPIO_InitStruct.Pull = LL_GPIO_PULL_NO;
  LL_GPIO_Init(GPIOA, &GPIO_InitStruct);

  /**/
  GPIO_InitStruct.Pin = LL_GPIO_PIN_11;
  GPIO_InitStruct.Mode = LL_GPIO_MODE_OUTPUT;
  GPIO_InitStruct.Speed = LL_GPIO_SPEED_FREQ_VERY_HIGH;
  GPIO_InitStruct.OutputType = LL_GPIO_OUTPUT_PUSHPULL;
  GPIO_InitStruct.Pull = LL_GPIO_PULL_NO;
  LL_GPIO_Init(GPIOA, &GPIO_InitStruct);

  /**/
  GPIO_InitStruct.Pin = LL_GPIO_PIN_12;
  GPIO_InitStruct.Mode = LL_GPIO_MODE_OUTPUT;
  GPIO_InitStruct.Speed = LL_GPIO_SPEED_FREQ_VERY_HIGH;
  GPIO_InitStruct.OutputType = LL_GPIO_OUTPUT_PUSHPULL;
  GPIO_InitStruct.Pull = LL_GPIO_PULL_NO;
  LL_GPIO_Init(GPIOA, &GPIO_InitStruct);

  /**/
  GPIO_InitStruct.Pin = LL_GPIO_PIN_15;
  GPIO_InitStruct.Mode = LL_GPIO_MODE_OUTPUT;
  GPIO_InitStruct.Speed = LL_GPIO_SPEED_FREQ_VERY_HIGH;
  GPIO_InitStruct.OutputType = LL_GPIO_OUTPUT_PUSHPULL;
  GPIO_InitStruct.Pull = LL_GPIO_PULL_NO;
  LL_GPIO_Init(GPIOA, &GPIO_InitStruct);

  /**/
  GPIO_InitStruct.Pin = LL_GPIO_PIN_3;
  GPIO_InitStruct.Mode = LL_GPIO_MODE_INPUT;
  GPIO_InitStruct.Pull = LL_GPIO_PULL_UP;
  LL_GPIO_Init(GPIOB, &GPIO_InitStruct);

  /**/
  GPIO_InitStruct.Pin = LL_GPIO_PIN_4;
  GPIO_InitStruct.Mode = LL_GPIO_MODE_OUTPUT;
  GPIO_InitStruct.Speed = LL_GPIO_SPEED_FREQ_VERY_HIGH;
  GPIO_InitStruct.OutputType = LL_GPIO_OUTPUT_PUSHPULL;
  GPIO_InitStruct.Pull = LL_GPIO_PULL_NO;
  LL_GPIO_Init(GPIOB, &GPIO_InitStruct);

  /**/
  GPIO_InitStruct.Pin = LL_GPIO_PIN_5;
  GPIO_InitStruct.Mode = LL_GPIO_MODE_OUTPUT;
  GPIO_InitStruct.Speed = LL_GPIO_SPEED_FREQ_VERY_HIGH;
  GPIO_InitStruct.OutputType = LL_GPIO_OUTPUT_PUSHPULL;
  GPIO_InitStruct.Pull = LL_GPIO_PULL_NO;
  LL_GPIO_Init(GPIOB, &GPIO_InitStruct);

  /**/
  GPIO_InitStruct.Pin = LL_GPIO_PIN_6;
  GPIO_InitStruct.Mode = LL_GPIO_MODE_OUTPUT;
  GPIO_InitStruct.Speed = LL_GPIO_SPEED_FREQ_VERY_HIGH;
  GPIO_InitStruct.OutputType = LL_GPIO_OUTPUT_PUSHPULL;
  GPIO_InitStruct.Pull = LL_GPIO_PULL_NO;
  LL_GPIO_Init(GPIOB, &GPIO_InitStruct);

  /**/
  GPIO_InitStruct.Pin = LL_GPIO_PIN_7;
  GPIO_InitStruct.Mode = LL_GPIO_MODE_OUTPUT;
  GPIO_InitStruct.Speed = LL_GPIO_SPEED_FREQ_VERY_HIGH;
  GPIO_InitStruct.OutputType = LL_GPIO_OUTPUT_PUSHPULL;
  GPIO_InitStruct.Pull = LL_GPIO_PULL_NO;
  LL_GPIO_Init(GPIOB, &GPIO_InitStruct);

  /**/
  GPIO_InitStruct.Pin = LL_GPIO_PIN_8;
  GPIO_InitStruct.Mode = LL_GPIO_MODE_OUTPUT;
  GPIO_InitStruct.Speed = LL_GPIO_SPEED_FREQ_VERY_HIGH;
  GPIO_InitStruct.OutputType = LL_GPIO_OUTPUT_PUSHPULL;
  GPIO_InitStruct.Pull = LL_GPIO_PULL_NO;
  LL_GPIO_Init(GPIOB, &GPIO_InitStruct);

  /**/
  GPIO_InitStruct.Pin = LL_GPIO_PIN_9;
  GPIO_InitStruct.Mode = LL_GPIO_MODE_OUTPUT;
  GPIO_InitStruct.Speed = LL_GPIO_SPEED_FREQ_VERY_HIGH;
  GPIO_InitStruct.OutputType = LL_GPIO_OUTPUT_PUSHPULL;
  GPIO_InitStruct.Pull = LL_GPIO_PULL_NO;
  LL_GPIO_Init(GPIOB, &GPIO_InitStruct);

#define DISABLE_SWCLK

#ifdef DISABLE_SWCLK

  if ( (LL_GPIO_ReadInputPort(GPIOC) & LL_GPIO_PIN_13)!=0 && ((LL_GPIO_ReadInputPort(GPIOB) & LL_GPIO_PIN_3)!=0) ){
    GPIO_InitStruct.Pin = LL_GPIO_PIN_14;
    GPIO_InitStruct.Mode = LL_GPIO_MODE_OUTPUT;
    GPIO_InitStruct.Speed = LL_GPIO_SPEED_FREQ_VERY_HIGH;
    GPIO_InitStruct.OutputType = LL_GPIO_OUTPUT_PUSHPULL;
    GPIO_InitStruct.Pull = LL_GPIO_PULL_NO;
    LL_GPIO_Init(GPIOA, &GPIO_InitStruct);
  }
#endif
}

void Error_Handler(void)
{
}

/************************ (C) COPYRIGHT STMicroelectronics *****END OF FILE****/
